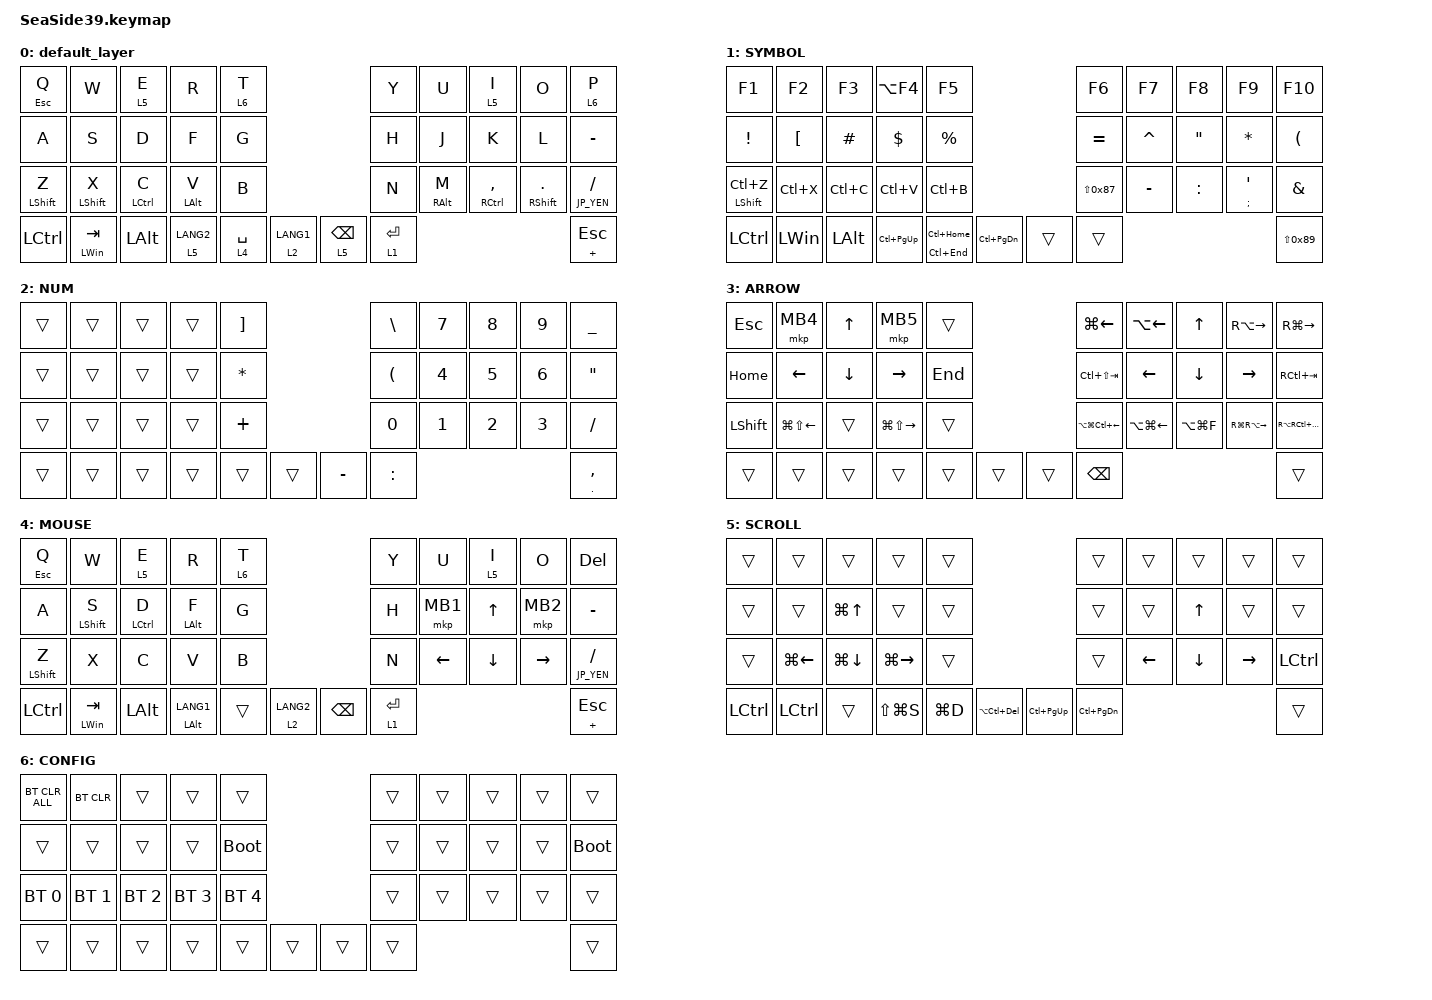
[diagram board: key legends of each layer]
#include <behaviors.dtsi>
#include <dt-bindings/zmk/bt.h>
#include <dt-bindings/zmk/keys.h>
#include <dt-bindings/zmk/pointing.h>
#include <input/processors.dtsi>

#define MOUSE 4
#define SCROLL 5
#define NUM 6

// OS設定を日本語キーボードのまま使用するための変換定義
#define JP_DQUOTE       AT                // "
#define JP_AMPERSAND    CARET             // &
#define JP_QUOTE        AMPERSAND         // '
#define JP_EQUAL        UNDER             // =
#define JP_CARET        EQUAL             // ^
#define JP_YEN          0x89              // ¥
#define JP_PLUS         COLON             // +
#define JP_TILDE        PLUS              // ~
#define JP_PIPE         LS(0x89)          // |
#define JP_AT           LEFT_BRACKET      // @
#define JP_COLON        SINGLE_QUOTE      // :
#define JP_ASTERISK     DOUBLE_QUOTES     // *
#define JP_BACKQUOTE    LEFT_BRACE        // `
#define JP_UNDERSCORE   LS(0x87)          // _
#define JP_LBRACKET     RIGHT_BRACKET     // [
#define JP_RBRACKET     BACKSLASH         // ]
#define JP_LPAREN       ASTERISK          // (
#define JP_RPAREN       LEFT_PARENTHESIS  // )
#define JP_LBRACE       RIGHT_BRACE       // {
#define JP_RBRACE       PIPE              // }
#define JP_KANA         LANGUAGE_1        // かな
#define JP_EISU         LANGUAGE_2        // 英数
#define JP_HANZEN       GRAVE             // 半角/全角

&mt {
    flavor = "tap-preferred";
    require-prior-idle-ms = <200>;
    quick-tap-ms = <300>;
};

&lt {
    flavor = "balanced";
    require-prior-idle-ms = <200>;
    quick-tap-ms = <300>;
};

// マウスキー押下後のAML残留時間設定
&mkp_input_listener {
    input-processors = <&zip_temp_layer 4 250>;
};

/ {
    combos {
				compatible = "zmk,combos";
				combo_esc {
            timeout-ms = <50>;
            key-positions = <33 34>;
            bindings = <&kp ESC>;
        };
				combo_tab {
            timeout-ms = <50>;
            key-positions = <34 35>;
            bindings = <&kp TAB>;
        };
				combo_lc_pgup {
            timeout-ms = <50>;
            key-positions = <16 17>;
            bindings = <&kp LC(PAGE_UP)>;
        };
				combo_lc_pgdn {
            timeout-ms = <50>;
            key-positions = <17 18>;
            bindings = <&kp LC(PAGE_DOWN)>;
        };
    };

    macros {
        to_layer_0: to_layer_0 {
            compatible = "zmk,behavior-macro-one-param";
            #binding-cells = <1>;
            bindings = <&to 0 &macro_param_1to1 &kp MACRO_PLACEHOLDER>;
            label = "TO_LAYER_0";
        };
    };

    behaviors {
        lt_to_layer_0: lt_to_layer_0 {
            compatible = "zmk,behavior-hold-tap";
            label = "LAYER_TAP_TO_0";
            bindings = <&mo>, <&to_layer_0>;

            #binding-cells = <2>;
            tapping-term-ms = <200>;
        };
    };

    keymap {
        compatible = "zmk,keymap";

        default_layer {
            bindings = <
&mt ESCAPE Q      &kp W             &lt 5 E       &kp R           &lt 6 T                                        &kp Y        &kp U            &lt 5 I          &kp O                   &lt 6 P
&kp A             &kp S             &kp D         &kp F           &kp G                                          &kp H        &kp J            &kp K            &kp L                   &kp MINUS
&mt LEFT_SHIFT Z  &mt LEFT_SHIFT X  &mt LCTRL C   &mt LEFT_ALT V  &kp B                                          &kp N        &mt RIGHT_ALT M  &mt RCTRL COMMA  &mt RIGHT_SHIFT PERIOD  &mt JP_YEN SLASH
&kp LCTRL         &mt LEFT_WIN TAB  &kp LEFT_ALT  &lt 5 LANG2     &lt 4 SPACE  &lt 2 LANG1      &lt 5 BACKSPACE  &lt 1 ENTER                                                            &mt JP_TILDE ESCAPE
            >;

            // sensor-bindings = <&inc_dec_kp PG_UP PAGE_DOWN>;
        };

        SYMBOL {
            bindings = <
&kp F1                   &kp F2        &kp F3        &kp LA(F4)       &kp F5                                               &kp F6             &kp F7            &kp F8           &kp F9                   &kp F10
&kp EXCLAMATION          &kp JP_AT     &kp HASH      &kp DOLLAR       &kp PERCENT                                          &kp JP_CARET       &kp JP_AMPERSAND  &kp JP_ASTERISK  &kp JP_LPAREN            &kp JP_RPAREN
&mt LEFT_SHIFT LC(Z)     &kp LC(X)     &kp LC(C)     &kp LC(V)        &kp LC(B)                                            &kp JP_UNDERSCORE  &kp MINUS         &kp JP_PLUS      &mt SEMICOLON JP_COLON   &kp JP_QUOTE
&kp LCTRL                &kp LEFT_WIN  &kp LEFT_ALT  &kp LC(PAGE_UP)  &mt LC(END) LC(HOME)  &kp LC(PAGE_DOWN)      &trans  &trans                                                                         &kp JP_PIPE
            >;
        };

        NUM {
            bindings = <
&trans  &trans  &trans   &trans   &kp JP_LBRACKET              &kp JP_RBRACKET  &kp NUMBER_7  &kp NUMBER_8  &kp NUMBER_9  &kp JP_EQUAL
&trans  &trans  &trans   &trans   &kp JP_LPAREN                &kp JP_RPAREN    &kp NUMBER_4  &kp NUMBER_5  &kp NUMBER_6  &kp JP_ASTERISK
&trans  &trans  &trans   &trans   &kp JP_TILDE                 &kp NUMBER_0     &kp NUMBER_1  &kp NUMBER_2  &kp NUMBER_3  &kp SLASH
&trans  &trans  &trans   &trans   &trans   &trans      &kp MINUS  &kp JP_PLUS                                               &mt PERIOD COMMA
            >;
        };

        ARROW {
            bindings = <
&kp ESCAPE      &mkp MB4                &kp UP_ARROW    &mkp MB5                 &trans                       &kp LG(LEFT_ARROW)          &kp LA(LEFT_ARROW)      &kp UP_ARROW    &kp RA(RIGHT_ARROW)      &kp RG(RIGHT_ARROW)
&kp HOME        &kp LEFT_ARROW          &kp DOWN_ARROW  &kp RIGHT_ARROW          &kp END                      &kp LC(LS(TAB))             &kp LEFT_ARROW          &kp DOWN_ARROW  &kp RIGHT_ARROW          &kp RC(TAB)
&kp LEFT_SHIFT  &kp LG(LS(LEFT_ARROW))  &trans          &kp LG(LS(RIGHT_ARROW))  &trans                       &kp LA(LG(LC(LEFT_ARROW)))  &kp LA(LG(LEFT_ARROW))  &kp LA(LG(F))   &kp RG(RA(RIGHT_ARROW))  &kp RA(RC(RG(RIGHT_ARROW)))
&trans          &trans                  &trans          &trans                   &trans   &trans      &trans  &kp BACKSPACE                                                                                &trans
            >;

            // sensor-bindings = <&inc_dec_kp LC(PAGE_UP) LC(PAGE_DOWN)>;
        };

        MOUSE {
            bindings = <
&mt ESCAPE Q      &kp W             &lt 5 E       &kp R               &lt 6 T                                  &kp Y       &kp U            &lt 5 I         &kp O            &kp DELETE
&kp A             &mt LEFT_SHIFT S  &mt LCTRL D   &mt LEFT_ALT F      &kp G                                    &kp H       &mkp MB1         &kp UP_ARROW    &mkp MB2         &kp MINUS
&mt LEFT_SHIFT Z  &kp X             &kp C         &kp V               &kp B                                    &kp N       &kp LEFT_ARROW  &kp DOWN_ARROW  &kp RIGHT_ARROW  &mt JP_YEN SLASH
&kp LCTRL         &mt LEFT_WIN TAB  &kp LEFT_ALT  &mt LEFT_ALT LANG1  &trans   &lt 2 LANG2      &kp BACKSPACE  &lt 1 ENTER                                                   &mt JP_TILDE ESCAPE
            >;
        };

        SCROLL {
            bindings = <
&trans     &trans              &trans              &trans               &trans                                        &trans            &trans          &trans          &trans           &trans
&trans     &trans              &kp LG(UP_ARROW)    &trans               &trans                                        &trans            &trans          &kp UP_ARROW    &trans           &trans
&trans     &kp LG(LEFT_ARROW)  &kp LG(DOWN_ARROW)  &kp LG(RIGHT_ARROW)  &trans                                        &trans            &kp LEFT_ARROW  &kp DOWN_ARROW  &kp RIGHT_ARROW  &kp LCTRL
&kp LCTRL  &kp LCTRL           &trans              &kp LS(LG(S))        &kp LG(D)  &kp LA(LC(DEL))   &kp LC(PAGE_UP)  &kp LC(PAGE_DOWN)                                                  &trans
            >;
        };

        CONFIG {
            bindings = <
&bt BT_CLR_ALL  &bt BT_CLR    &trans        &trans        &trans                            &trans  &trans  &trans  &trans       &trans
&trans          &trans        &trans        &trans        &bootloader                       &trans  &trans  &trans  &trans       &bootloader
&bt BT_SEL 0    &bt BT_SEL 1  &bt BT_SEL 2  &bt BT_SEL 3  &bt BT_SEL 4                      &trans  &trans  &trans  &trans       &trans
&trans          &trans        &trans        &trans        &trans        &trans      &trans  &trans                               &trans
            >;
        };
    };
};
